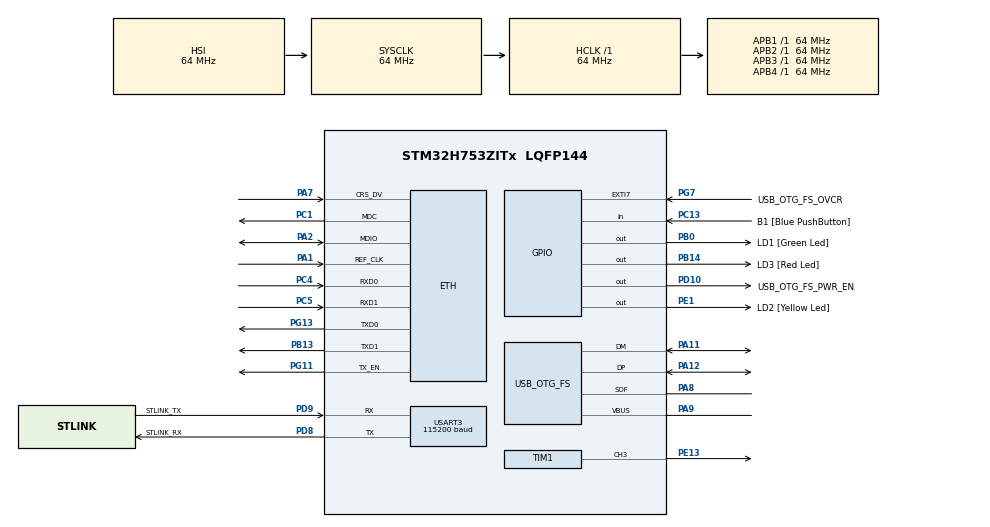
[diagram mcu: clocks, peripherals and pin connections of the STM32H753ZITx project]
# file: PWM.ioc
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CORTEX_M7.CPU_DCache=Disabled
CORTEX_M7.CPU_ICache=Disabled
CORTEX_M7.MPU_Control=__NULL
ETH.ETH_RX_DESC_CNT=4
ETH.ETH_TX_DESC_CNT=4
ETH.MACAddr=00\:80\:E1\:00\:00\:00
ETH.MediaInterface=HAL_ETH_RMII_MODE
ETH.RxBuffAddress=0x30040200
ETH.RxBuffLen=1524
ETH.RxDescAddress=0x30040000
ETH.TxDescAddress=0x30040060
Mcu.Family=STM32H7
Mcu.Name=STM32H753ZITx
Mcu.Package=LQFP144
NVIC.PriorityGroup=NVIC_PRIORITYGROUP_4
PA1.Mode=RMII
PA1.Signal=ETH_REF_CLK
PA11.Mode=Device_Only
PA11.Signal=USB_OTG_FS_DM
PA12.Mode=Device_Only
PA12.Signal=USB_OTG_FS_DP
PA2.Mode=RMII
PA2.Signal=ETH_MDIO
PA7.Mode=RMII
PA7.Signal=ETH_CRS_DV
PA8.Mode=Activate_SOF_FS
PA8.Signal=USB_OTG_FS_SOF
PA9.Mode=Activate_VBUS
PA9.Signal=USB_OTG_FS_VBUS
PB0.GPIO_Label=LD1 [Green Led]
PB0.Signal=GPIO_Output
PB13.Mode=RMII
PB13.Signal=ETH_TXD1
PB14.GPIO_Label=LD3 [Red Led]
PB14.Signal=GPIO_Output
PC1.Mode=RMII
PC1.Signal=ETH_MDC
PC13.GPIO_Label=B1 [Blue PushButton]
PC13.Signal=GPIO_Input
PC14-OSC32_IN\ (OSC32_IN).Mode=LSE-External-Oscillator
PC14-OSC32_IN\ (OSC32_IN).Signal=RCC_OSC32_IN
PC15-OSC32_OUT\ (OSC32_OUT).Mode=LSE-External-Oscillator
PC15-OSC32_OUT\ (OSC32_OUT).Signal=RCC_OSC32_OUT
PC4.Mode=RMII
PC4.Signal=ETH_RXD0
PC5.Mode=RMII
PC5.Signal=ETH_RXD1
PD10.GPIO_Label=USB_OTG_FS_PWR_EN
PD10.Signal=GPIO_Output
PD8.GPIO_Label=STLINK_RX
PD8.Mode=Asynchronous
PD8.Signal=USART3_TX
PD9.GPIO_Label=STLINK_TX
PD9.Mode=Asynchronous
PD9.Signal=USART3_RX
PE1.GPIO_Label=LD2 [Yellow Led]
PE1.Signal=GPIO_Output
PE13.Signal=S_TIM1_CH3
PG11.Mode=RMII
PG11.Signal=ETH_TX_EN
PG13.Mode=RMII
PG13.Signal=ETH_TXD0
PG7.GPIO_Label=USB_OTG_FS_OVCR
PG7.Signal=GPXTI7
PH0-OSC_IN\ (PH0).Mode=HSE-External-Clock-Source
PH0-OSC_IN\ (PH0).Signal=RCC_OSC_IN
PH1-OSC_OUT\ (PH1).Signal=RCC_OSC_OUT
ProjectManager.HeapSize=0x200
ProjectManager.StackSize=0x400
ProjectManager.TargetToolchain=STM32CubeIDE
RCC.ADCFreq_Value=16125000
RCC.APB1Freq_Value=64000000
RCC.APB2Freq_Value=64000000
RCC.APB3Freq_Value=64000000
RCC.APB4Freq_Value=64000000
RCC.CortexFreq_Value=64000000
RCC.DIVM1=1
RCC.DIVN1=24
RCC.DIVQ1=4
RCC.HCLKFreq_Value=64000000
RCC.HSE_VALUE=8000000
RCC.PLLFRACN=0
RCC.PWR_Regulator_Voltage_Scale=PWR_REGULATOR_VOLTAGE_SCALE2
RCC.SYSCLKFreq_VALUE=64000000
RCC.USBFreq_Value=48000000
SH.S_TIM1_CH3.0=TIM1_CH3,PWM Generation3 CH3
TIM1.AutoReloadPreload=TIM_AUTORELOAD_PRELOAD_ENABLE
TIM1.Channel-PWM\ Generation3\ CH3=TIM_CHANNEL_3
TIM1.ClockDivision=TIM_CLOCKDIVISION_DIV4
TIM1.Period=1000
TIM1.Prescaler=16
TIM1.Pulse-PWM\ Generation3\ CH3=392
TIM1.RepetitionCounter=0
USART3.AutoBaudRateEnableParam=UART_ADVFEATURE_AUTOBAUDRATE_DISABLE
USART3.BaudRate=115200
USART3.ClockPrescaler=PRESCALER_DIV1
USART3.DMADisableonRxErrorParam=ADVFEATURE_DMA_ENABLEONRXERROR
USART3.DataInvertParam=ADVFEATURE_DATAINV_DISABLE
USART3.FIFOMode=FIFOMODE_DISABLE
USART3.MSBFirstParam=ADVFEATURE_MSBFIRST_DISABLE
USART3.Mode=MODE_TX_RX
USART3.OneBitSampling=UART_ONE_BIT_SAMPLE_DISABLE
USART3.OverSampling=UART_OVERSAMPLING_16
USART3.OverrunDisableParam=ADVFEATURE_OVERRUN_ENABLE
USART3.Parity=PARITY_NONE
USART3.RXFIFOThreshold=RXFIFO_THRESHOLD_1EIGHTHFULL
USART3.RxPinLevelInvertParam=ADVFEATURE_RXINV_DISABLE
USART3.StopBits=STOPBITS_1
USART3.SwapParam=ADVFEATURE_SWAP_DISABLE
USART3.TXFIFOThreshold=TXFIFO_THRESHOLD_1EIGHTHFULL
USART3.TxPinLevelInvertParam=ADVFEATURE_TXINV_DISABLE
USART3.VirtualMode-Asynchronous=VM_ASYNC
USART3.WordLength=WORDLENGTH_8B
USB_OTG_FS.Sof_enable=ENABLE
USB_OTG_FS.VirtualMode=Device_Only
USB_OTG_FS.battery_charging_enable=ENABLE
USB_OTG_FS.low_power_enable=DISABLE
USB_OTG_FS.lpm_enable=DISABLE
USB_OTG_FS.use_dedicated_ep1=DISABLE
USB_OTG_FS.vbus_sensing_enable=ENABLE
VP_MEMORYMAP_VS_MEMORYMAP.Mode=CurAppReg
VP_TIM1_VS_ClockSourceINT.Mode=Internal
board=NUCLEO-H753ZI

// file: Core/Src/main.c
/* USER CODE BEGIN Header */
/**
  ******************************************************************************
  * @file           : main.c
  * @brief          : Main program body
  ******************************************************************************
  * @attention
  *
  * Copyright (c) 2024 STMicroelectronics.
  * All rights reserved.
  *
  * This software is licensed under terms that can be found in the LICENSE file
  * in the root directory of this software component.
  * If no LICENSE file comes with this software, it is provided AS-IS.
  *
  ******************************************************************************
  */
/* USER CODE END Header */
#include "main.h"
#include "string.h"

#if defined ( __ICCARM__ ) /*!< IAR Compiler */
#pragma location=0x30040000
ETH_DMADescTypeDef  DMARxDscrTab[ETH_RX_DESC_CNT]; /* Ethernet Rx DMA Descriptors */
#pragma location=0x30040060
ETH_DMADescTypeDef  DMATxDscrTab[ETH_TX_DESC_CNT]; /* Ethernet Tx DMA Descriptors */

#elif defined ( __CC_ARM )  /* MDK ARM Compiler */

__attribute__((at(0x30040000))) ETH_DMADescTypeDef  DMARxDscrTab[ETH_RX_DESC_CNT]; /* Ethernet Rx DMA Descriptors */
__attribute__((at(0x30040060))) ETH_DMADescTypeDef  DMATxDscrTab[ETH_TX_DESC_CNT]; /* Ethernet Tx DMA Descriptors */

#elif defined ( __GNUC__ ) /* GNU Compiler */

ETH_DMADescTypeDef DMARxDscrTab[ETH_RX_DESC_CNT] __attribute__((section(".RxDecripSection"))); /* Ethernet Rx DMA Descriptors */
ETH_DMADescTypeDef DMATxDscrTab[ETH_TX_DESC_CNT] __attribute__((section(".TxDecripSection")));   /* Ethernet Tx DMA Descriptors */
#endif

ETH_TxPacketConfig TxConfig;

ETH_HandleTypeDef heth;

TIM_HandleTypeDef htim1;

UART_HandleTypeDef huart3;

PCD_HandleTypeDef hpcd_USB_OTG_FS;

void SystemClock_Config(void);
static void MX_GPIO_Init(void);
static void MX_ETH_Init(void);
static void MX_TIM1_Init(void);
static void MX_USART3_UART_Init(void);
static void MX_USB_OTG_FS_PCD_Init(void);

/* USER CODE BEGIN 0 */
static TIM_OC_InitTypeDef sConfigOC = {0};
static void set_fz(unsigned int frq);
/* USER CODE END 0 */

int main(void)
{

  /* MCU Configuration--------------------------------------------------------*/

  /* Reset of all peripherals, Initializes the Flash interface and the Systick. */
  HAL_Init();

  /* Configure the system clock */
  SystemClock_Config();

  /* Initialize all configured peripherals */
  MX_GPIO_Init();
  MX_ETH_Init();
  MX_TIM1_Init();
  MX_USART3_UART_Init();
  MX_USB_OTG_FS_PCD_Init();
  /* USER CODE BEGIN 2 */
  //設定音階頻率
  const unsigned int melody[] = { 523, 587, 659, 698, 784, 880, 988, 1047};
  const unsigned int sheet[] = {5, 3, 3, 4, 2, 2, 1, 2, 3, 4, 5, 5, 5};
  const unsigned int pitch[] = {250, 250, 500, 250, 250, 500, 250, 250, 250,
		  250, 250, 250, 500};
  //開啟PWM 計數器
  HAL_TIM_PWM_Start(&htim1, TIM_CHANNEL_3);
  //走訪sheet 音調
  for(int i = 0; i < sizeof(sheet) / sizeof(unsigned int); i++){
	  set_fz(melody[sheet[i]]);
	  HAL_Delay(pitch[i]);
  }
  //停止PWM
  HAL_TIM_PWM_Stop(&htim1, TIM_CHANNEL_3);
  /* USER CODE END 2 */

  /* Infinite loop */
  while (1)
  {

  }
}

void SystemClock_Config(void)
{
  RCC_OscInitTypeDef RCC_OscInitStruct = {0};
  RCC_ClkInitTypeDef RCC_ClkInitStruct = {0};

  /** Supply configuration update enable
  */
  HAL_PWREx_ConfigSupply(PWR_LDO_SUPPLY);

  /** Configure the main internal regulator output voltage
  */
  __HAL_PWR_VOLTAGESCALING_CONFIG(PWR_REGULATOR_VOLTAGE_SCALE2);

  while(!__HAL_PWR_GET_FLAG(PWR_FLAG_VOSRDY)) {}

  /** Initializes the RCC Oscillators according to the specified parameters
  * in the RCC_OscInitTypeDef structure.
  */
  RCC_OscInitStruct.OscillatorType = RCC_OSCILLATORTYPE_HSI|RCC_OSCILLATORTYPE_HSE;
  RCC_OscInitStruct.HSEState = RCC_HSE_BYPASS;
  RCC_OscInitStruct.HSIState = RCC_HSI_DIV1;
  RCC_OscInitStruct.HSICalibrationValue = RCC_HSICALIBRATION_DEFAULT;
  RCC_OscInitStruct.PLL.PLLState = RCC_PLL_ON;
  RCC_OscInitStruct.PLL.PLLSource = RCC_PLLSOURCE_HSE;
  RCC_OscInitStruct.PLL.PLLM = 1;
  RCC_OscInitStruct.PLL.PLLN = 24;
  RCC_OscInitStruct.PLL.PLLP = 2;
  RCC_OscInitStruct.PLL.PLLQ = 4;
  RCC_OscInitStruct.PLL.PLLR = 2;
  RCC_OscInitStruct.PLL.PLLRGE = RCC_PLL1VCIRANGE_3;
  RCC_OscInitStruct.PLL.PLLVCOSEL = RCC_PLL1VCOWIDE;
  RCC_OscInitStruct.PLL.PLLFRACN = 0;
  if (HAL_RCC_OscConfig(&RCC_OscInitStruct) != HAL_OK)
  {
    Error_Handler();
  }

  /** Initializes the CPU, AHB and APB buses clocks
  */
  RCC_ClkInitStruct.ClockType = RCC_CLOCKTYPE_HCLK|RCC_CLOCKTYPE_SYSCLK
                              |RCC_CLOCKTYPE_PCLK1|RCC_CLOCKTYPE_PCLK2
                              |RCC_CLOCKTYPE_D3PCLK1|RCC_CLOCKTYPE_D1PCLK1;
  RCC_ClkInitStruct.SYSCLKSource = RCC_SYSCLKSOURCE_HSI;
  RCC_ClkInitStruct.SYSCLKDivider = RCC_SYSCLK_DIV1;
  RCC_ClkInitStruct.AHBCLKDivider = RCC_HCLK_DIV1;
  RCC_ClkInitStruct.APB3CLKDivider = RCC_APB3_DIV1;
  RCC_ClkInitStruct.APB1CLKDivider = RCC_APB1_DIV1;
  RCC_ClkInitStruct.APB2CLKDivider = RCC_APB2_DIV1;
  RCC_ClkInitStruct.APB4CLKDivider = RCC_APB4_DIV1;

  if (HAL_RCC_ClockConfig(&RCC_ClkInitStruct, FLASH_LATENCY_1) != HAL_OK)
  {
    Error_Handler();
  }
}

static void MX_ETH_Init(void)
{

   static uint8_t MACAddr[6];

  heth.Instance = ETH;
  MACAddr[0] = 0x00;
  MACAddr[1] = 0x80;
  MACAddr[2] = 0xE1;
  MACAddr[3] = 0x00;
  MACAddr[4] = 0x00;
  MACAddr[5] = 0x00;
  heth.Init.MACAddr = &MACAddr[0];
  heth.Init.MediaInterface = HAL_ETH_RMII_MODE;
  heth.Init.TxDesc = DMATxDscrTab;
  heth.Init.RxDesc = DMARxDscrTab;
  heth.Init.RxBuffLen = 1524;

  if (HAL_ETH_Init(&heth) != HAL_OK)
  {
    Error_Handler();
  }

  memset(&TxConfig, 0 , sizeof(ETH_TxPacketConfig));
  TxConfig.Attributes = ETH_TX_PACKETS_FEATURES_CSUM | ETH_TX_PACKETS_FEATURES_CRCPAD;
  TxConfig.ChecksumCtrl = ETH_CHECKSUM_IPHDR_PAYLOAD_INSERT_PHDR_CALC;
  TxConfig.CRCPadCtrl = ETH_CRC_PAD_INSERT;

}

static void MX_TIM1_Init(void)
{

  TIM_ClockConfigTypeDef sClockSourceConfig = {0};
  TIM_MasterConfigTypeDef sMasterConfig = {0};
  //TIM_OC_InitTypeDef sConfigOC = {0};
  TIM_BreakDeadTimeConfigTypeDef sBreakDeadTimeConfig = {0};

  htim1.Instance = TIM1;
  htim1.Init.Prescaler = 16;
  htim1.Init.ClockDivision = TIM_CLOCKDIVISION_DIV4;
  htim1.Init.CounterMode = TIM_COUNTERMODE_UP;
  htim1.Init.Period = 10000;
  htim1.Init.RepetitionCounter = 0;
  htim1.Init.AutoReloadPreload = TIM_AUTORELOAD_PRELOAD_ENABLE;
  if (HAL_TIM_Base_Init(&htim1) != HAL_OK)
  {
    Error_Handler();
  }
  sClockSourceConfig.ClockSource = TIM_CLOCKSOURCE_INTERNAL;
  if (HAL_TIM_ConfigClockSource(&htim1, &sClockSourceConfig) != HAL_OK)
  {
    Error_Handler();
  }
  if (HAL_TIM_PWM_Init(&htim1) != HAL_OK)
  {
    Error_Handler();
  }
  sMasterConfig.MasterOutputTrigger = TIM_TRGO_RESET;
  sMasterConfig.MasterOutputTrigger2 = TIM_TRGO2_RESET;
  sMasterConfig.MasterSlaveMode = TIM_MASTERSLAVEMODE_DISABLE;
  if (HAL_TIMEx_MasterConfigSynchronization(&htim1, &sMasterConfig) != HAL_OK)
  {
    Error_Handler();
  }
  sConfigOC.OCMode = TIM_OCMODE_PWM1;
  sConfigOC.Pulse = 392;
  sConfigOC.OCPolarity = TIM_OCPOLARITY_HIGH;
  sConfigOC.OCNPolarity = TIM_OCNPOLARITY_HIGH;
  sConfigOC.OCFastMode = TIM_OCFAST_DISABLE;
  sConfigOC.OCIdleState = TIM_OCIDLESTATE_RESET;
  sConfigOC.OCNIdleState = TIM_OCNIDLESTATE_RESET;
  if (HAL_TIM_PWM_ConfigChannel(&htim1, &sConfigOC, TIM_CHANNEL_3) != HAL_OK)
  {
    Error_Handler();
  }
  sBreakDeadTimeConfig.OffStateRunMode = TIM_OSSR_DISABLE;
  sBreakDeadTimeConfig.OffStateIDLEMode = TIM_OSSI_DISABLE;
  sBreakDeadTimeConfig.LockLevel = TIM_LOCKLEVEL_OFF;
  sBreakDeadTimeConfig.DeadTime = 0;
  sBreakDeadTimeConfig.BreakState = TIM_BREAK_DISABLE;
  sBreakDeadTimeConfig.BreakPolarity = TIM_BREAKPOLARITY_HIGH;
  sBreakDeadTimeConfig.BreakFilter = 0;
  sBreakDeadTimeConfig.Break2State = TIM_BREAK2_DISABLE;
  sBreakDeadTimeConfig.Break2Polarity = TIM_BREAK2POLARITY_HIGH;
  sBreakDeadTimeConfig.Break2Filter = 0;
  sBreakDeadTimeConfig.AutomaticOutput = TIM_AUTOMATICOUTPUT_DISABLE;
  if (HAL_TIMEx_ConfigBreakDeadTime(&htim1, &sBreakDeadTimeConfig) != HAL_OK)
  {
    Error_Handler();
  }
  HAL_TIM_MspPostInit(&htim1);

}

static void MX_USART3_UART_Init(void)
{

  huart3.Instance = USART3;
  huart3.Init.BaudRate = 115200;
  huart3.Init.WordLength = UART_WORDLENGTH_8B;
  huart3.Init.StopBits = UART_STOPBITS_1;
  huart3.Init.Parity = UART_PARITY_NONE;
  huart3.Init.Mode = UART_MODE_TX_RX;
  huart3.Init.HwFlowCtl = UART_HWCONTROL_NONE;
  huart3.Init.OverSampling = UART_OVERSAMPLING_16;
  huart3.Init.OneBitSampling = UART_ONE_BIT_SAMPLE_DISABLE;
  huart3.Init.ClockPrescaler = UART_PRESCALER_DIV1;
  huart3.AdvancedInit.AdvFeatureInit = UART_ADVFEATURE_NO_INIT;
  if (HAL_UART_Init(&huart3) != HAL_OK)
  {
    Error_Handler();
  }
  if (HAL_UARTEx_SetTxFifoThreshold(&huart3, UART_TXFIFO_THRESHOLD_1_8) != HAL_OK)
  {
    Error_Handler();
  }
  if (HAL_UARTEx_SetRxFifoThreshold(&huart3, UART_RXFIFO_THRESHOLD_1_8) != HAL_OK)
  {
    Error_Handler();
  }
  if (HAL_UARTEx_DisableFifoMode(&huart3) != HAL_OK)
  {
    Error_Handler();
  }

}

static void MX_USB_OTG_FS_PCD_Init(void)
{

  hpcd_USB_OTG_FS.Instance = USB_OTG_FS;
  hpcd_USB_OTG_FS.Init.dev_endpoints = 9;
  hpcd_USB_OTG_FS.Init.speed = PCD_SPEED_FULL;
  hpcd_USB_OTG_FS.Init.dma_enable = DISABLE;
  hpcd_USB_OTG_FS.Init.phy_itface = PCD_PHY_EMBEDDED;
  hpcd_USB_OTG_FS.Init.Sof_enable = ENABLE;
  hpcd_USB_OTG_FS.Init.low_power_enable = DISABLE;
  hpcd_USB_OTG_FS.Init.lpm_enable = DISABLE;
  hpcd_USB_OTG_FS.Init.battery_charging_enable = ENABLE;
  hpcd_USB_OTG_FS.Init.vbus_sensing_enable = ENABLE;
  hpcd_USB_OTG_FS.Init.use_dedicated_ep1 = DISABLE;
  if (HAL_PCD_Init(&hpcd_USB_OTG_FS) != HAL_OK)
  {
    Error_Handler();
  }

}

static void MX_GPIO_Init(void)
{
  GPIO_InitTypeDef GPIO_InitStruct = {0};

  /* GPIO Ports Clock Enable */
  __HAL_RCC_GPIOC_CLK_ENABLE();
  __HAL_RCC_GPIOH_CLK_ENABLE();
  __HAL_RCC_GPIOA_CLK_ENABLE();
  __HAL_RCC_GPIOB_CLK_ENABLE();
  __HAL_RCC_GPIOE_CLK_ENABLE();
  __HAL_RCC_GPIOD_CLK_ENABLE();
  __HAL_RCC_GPIOG_CLK_ENABLE();

  /*Configure GPIO pin Output Level */
  HAL_GPIO_WritePin(GPIOB, LD1_Pin|LD3_Pin, GPIO_PIN_RESET);

  /*Configure GPIO pin Output Level */
  HAL_GPIO_WritePin(USB_OTG_FS_PWR_EN_GPIO_Port, USB_OTG_FS_PWR_EN_Pin, GPIO_PIN_RESET);

  /*Configure GPIO pin Output Level */
  HAL_GPIO_WritePin(LD2_GPIO_Port, LD2_Pin, GPIO_PIN_RESET);

  /*Configure GPIO pin : B1_Pin */
  GPIO_InitStruct.Pin = B1_Pin;
  GPIO_InitStruct.Mode = GPIO_MODE_INPUT;
  GPIO_InitStruct.Pull = GPIO_NOPULL;
  HAL_GPIO_Init(B1_GPIO_Port, &GPIO_InitStruct);

  /*Configure GPIO pins : LD1_Pin LD3_Pin */
  GPIO_InitStruct.Pin = LD1_Pin|LD3_Pin;
  GPIO_InitStruct.Mode = GPIO_MODE_OUTPUT_PP;
  GPIO_InitStruct.Pull = GPIO_NOPULL;
  GPIO_InitStruct.Speed = GPIO_SPEED_FREQ_LOW;
  HAL_GPIO_Init(GPIOB, &GPIO_InitStruct);

  /*Configure GPIO pin : USB_OTG_FS_PWR_EN_Pin */
  GPIO_InitStruct.Pin = USB_OTG_FS_PWR_EN_Pin;
  GPIO_InitStruct.Mode = GPIO_MODE_OUTPUT_PP;
  GPIO_InitStruct.Pull = GPIO_NOPULL;
  GPIO_InitStruct.Speed = GPIO_SPEED_FREQ_LOW;
  HAL_GPIO_Init(USB_OTG_FS_PWR_EN_GPIO_Port, &GPIO_InitStruct);

  /*Configure GPIO pin : USB_OTG_FS_OVCR_Pin */
  GPIO_InitStruct.Pin = USB_OTG_FS_OVCR_Pin;
  GPIO_InitStruct.Mode = GPIO_MODE_IT_RISING;
  GPIO_InitStruct.Pull = GPIO_NOPULL;
  HAL_GPIO_Init(USB_OTG_FS_OVCR_GPIO_Port, &GPIO_InitStruct);

  /*Configure GPIO pin : LD2_Pin */
  GPIO_InitStruct.Pin = LD2_Pin;
  GPIO_InitStruct.Mode = GPIO_MODE_OUTPUT_PP;
  GPIO_InitStruct.Pull = GPIO_NOPULL;
  GPIO_InitStruct.Speed = GPIO_SPEED_FREQ_LOW;
  HAL_GPIO_Init(LD2_GPIO_Port, &GPIO_InitStruct);

}

/* USER CODE BEGIN 4 */
static void set_fz(unsigned int frq) {
	/*計算週期*/
	const int base = 1000000;
	htim1.Init.Period = base / frq;
	sConfigOC.Pulse = htim1.Init.Period / 2;
	/*應用*/
	HAL_TIM_Base_Init(&htim1);
	HAL_TIM_PWM_ConfigChannel(&htim1, &sConfigOC, TIM_CHANNEL_3);
}
/* USER CODE END 4 */

void Error_Handler(void)
{
  __disable_irq();
  while (1)
  {
  }
}
